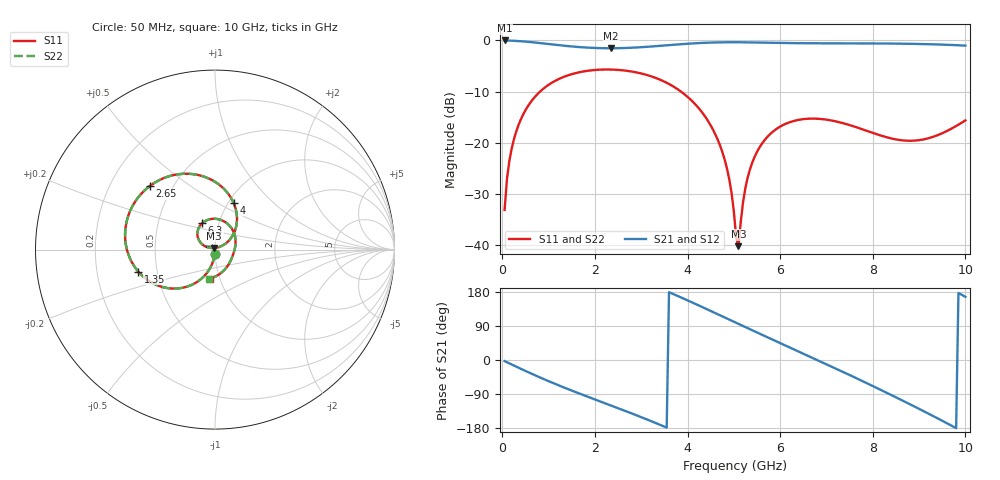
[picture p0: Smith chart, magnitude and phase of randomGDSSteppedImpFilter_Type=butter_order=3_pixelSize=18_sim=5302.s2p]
! freq	dB(S11)	phase(S11)	dB(S12)	phase(S12)
!  dB(S21)	phase(S21)	dB(S22)	phase(S22)
!S-par simulation data
#  GHz  S  DB  R 50
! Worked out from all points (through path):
!   200 points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, 50 MHz to 10 GHz, reference 50 ohm
!   highest |S21| = -0.01 dB at 50 MHz (marker M1); lowest = -1.5 dB at 2.35 GHz (marker M2)
!   group delay of S21, straight-line fit = 152 ps
!   lowest |S11| = -40.2 dB at 5.1 GHz (marker M3), VSWR 1.02, Z = 49.6 + j0.872 ohm
!   |S11| at or under -10 dB: start of sweep to 816.2 MHz; 3.859 GHz to end of sweep
!   |S22| runs from -39.7 to -5.7 dB; largest |S21 - S12| = 0
!   S11 on the Smith chart (normalised r, x): 50 MHz: 1.00, -0.04; 1.35 GHz: 0.39, -0.12; 2.65 GHz: 0.37, +0.36; 4 GHz: 1.06, +0.60; 6.3 GHz: 0.83, +0.25; 10 GHz: 0.89, -0.30
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0.05  -33.14 -92.9  -0.01 -3.0  -0.01 -3.0  -33.14 -92.9
0.15  -23.70 -99.3  -0.04 -8.8  -0.04 -8.8  -23.70 -99.3
0.4  -15.45 -113.6  -0.16 -23.2  -0.16 -23.2  -15.45 -113.6
1.35  -7.05 -163.9  -1.05 -73.4  -1.05 -73.4  -7.05 -163.9
1.75  -6.07 177.0  -1.36 -92.5  -1.36 -92.5  -6.07 177.0
2.35  -5.70 149.4  -1.53 -120.2  -1.53 -120.2  -5.70 149.4
2.65  -5.90 135.6  -1.48 -134.1  -1.48 -134.1  -5.90 135.6
3.4  -7.65 99.5  -1.07 -170.7  -1.07 -170.7  -7.65 99.5
4  -11.02 68.5  -0.65 157.4  -0.65 157.4  -11.02 68.5
4.75  -21.77 31.1  -0.37 115.2  -0.37 115.2  -21.76 31.5
4.95  -29.78 29.5  -0.36 103.8  -0.36 103.8  -29.73 30.5
5.05  -38.50 57.1  -0.36 98.1  -0.36 98.1  -38.14 58.9
5.1  -40.22 115.6  -0.36 95.3  -0.36 95.3  -39.70 114.2
5.25  -28.81 162.5  -0.38 86.8  -0.38 86.8  -28.77 161.4
5.45  -22.73 158.6  -0.40 75.5  -0.40 75.5  -22.72 158.0
6.3  -15.73 115.8  -0.53 28.1  -0.53 28.1  -15.73 115.4
6.7  -15.28 94.2  -0.56 5.8  -0.56 5.8  -15.28 93.7
7.45  -16.41 53.2  -0.57 -36.7  -0.57 -36.7  -16.41 52.5
8.35  -19.05 4.7  -0.61 -89.4  -0.61 -89.4  -19.06 3.8
8.8  -19.62 -19.9  -0.66 -116.6  -0.66 -116.6  -19.64 -20.9
9.3  -18.86 -50.5  -0.76 -147.6  -0.76 -147.6  -18.87 -51.3
10  -15.64 -100.5  -1.02 166.8  -1.02 166.8  -15.64 -100.8
